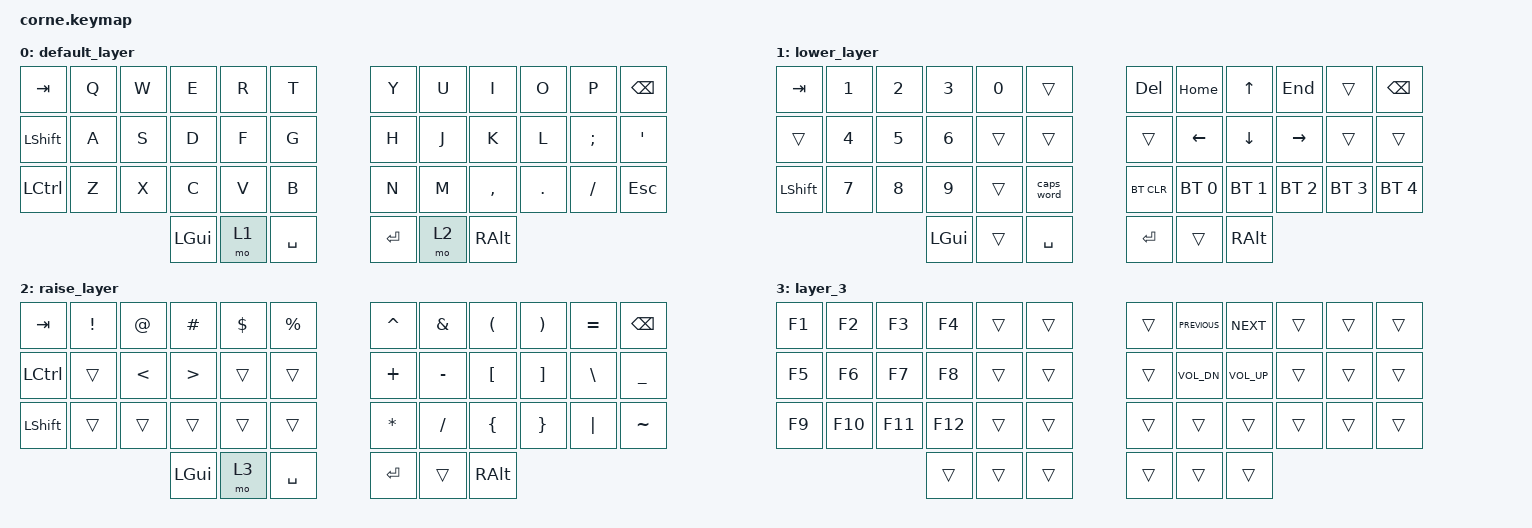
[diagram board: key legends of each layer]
/*
 * Copyright (c) 2020 The ZMK Contributors
 *
 * SPDX-License-Identifier: MIT
 */

#include <behaviors.dtsi>
#include <dt-bindings/zmk/bt.h>
#include <dt-bindings/zmk/keys.h>

/ {
    keymap {
        compatible = "zmk,keymap";

        default_layer {
            // -----------------------------------------------------------------------------------------
            // |  TAB |  Q  |  W  |  E  |  R  |  T  |   |  Y  |  U   |  I  |  O  |  P  | BSPC |
            // | CTRL |  A  |  S  |  D  |  F  |  G  |   |  H  |  J   |  K  |  L  |  ;  |  '   |
            // | SHFT |  Z  |  X  |  C  |  V  |  B  |   |  N  |  M   |  ,  |  .  |  /  | ESC  |
            //                    | GUI | LWR | SPC |   | ENT | RSE  | ALT |

            bindings = <
&kp TAB    &kp Q  &kp W  &kp E     &kp R  &kp T        &kp Y    &kp U  &kp I      &kp O    &kp P     &kp BSPC
&kp LSHFT  &kp A  &kp S  &kp D     &kp F  &kp G        &kp H    &kp J  &kp K      &kp L    &kp SEMI  &kp SQT
&kp LCTRL  &kp Z  &kp X  &kp C     &kp V  &kp B        &kp N    &kp M  &kp COMMA  &kp DOT  &kp FSLH  &kp ESC
                         &kp LGUI  &mo 1  &kp SPACE    &kp RET  &mo 2  &kp RALT
            >;
        };

        lower_layer {
            // -----------------------------------------------------------------------------------------
            // |  TAB |  1  |  2  |  3  |  4  |  5  |   |  6  |  7  |  8  |  9  |  0  | BSPC |
            // | BTCLR| BT1 | BT2 | BT3 | BT4 | BT5 |   | LFT | DWN |  UP | RGT |     |      |
            // | SHFT |     |     |     |     |     |   |     |     |     |     |     |      |
            //                    | GUI |     | SPC |   | ENT |     | ALT |

            bindings = <
&kp TAB    &kp N1  &kp N2  &kp N3    &kp N0  &trans        &kp DEL     &kp HOME      &kp UP        &kp END       &trans        &kp BSPC
&trans     &kp N4  &kp N5  &kp N6    &trans  &trans        &trans      &kp LEFT      &kp DOWN      &kp RIGHT     &trans        &trans
&kp LSHFT  &kp N7  &kp N8  &kp N9    &trans  &caps_word    &bt BT_CLR  &bt BT_SEL 0  &bt BT_SEL 1  &bt BT_SEL 2  &bt BT_SEL 3  &bt BT_SEL 4
                           &kp LGUI  &trans  &kp SPACE     &kp RET     &trans        &kp RALT
            >;
        };

        raise_layer {
            // -----------------------------------------------------------------------------------------
            // |  TAB |  !  |  @  |  #  |  $  |  %  |   |  ^  |  &  |  *  |  (  |  )  | BSPC |
            // | CTRL |     |     |     |     |     |   |  -  |  =  |  [  |  ]  |  \  |  `   |
            // | SHFT |     |     |     |     |     |   |  _  |  +  |  {  |  }  | "|" |  ~   |
            //                    | GUI |     | SPC |   | ENT |     | ALT |

            bindings = <
&kp TAB    &kp EXCL  &kp AT  &kp HASH          &kp DLLR  &kp PRCNT    &kp CARET     &kp AMPS   &kp LEFT_PARENTHESIS  &kp RIGHT_PARENTHESIS  &kp EQUAL  &kp BSPC
&kp LCTRL  &trans    &kp LT  &kp GREATER_THAN  &trans    &trans       &kp PLUS      &kp MINUS  &kp LBKT              &kp RBKT               &kp BSLH   &kp UNDERSCORE
&kp LSHFT  &trans    &trans  &trans            &trans    &trans       &kp ASTERISK  &kp SLASH  &kp LBRC              &kp RBRC               &kp PIPE   &kp TILDE
                             &kp LGUI          &mo 3     &kp SPACE    &kp RET       &trans     &kp RALT
            >;
        };

        layer_3 {
            bindings = <
&kp F1  &kp F2   &kp F3   &kp F4   &trans  &trans    &trans  &kp C_PREVIOUS  &kp C_NEXT       &trans  &trans  &trans
&kp F5  &kp F6   &kp F7   &kp F8   &trans  &trans    &trans  &kp C_VOL_DN    &kp C_VOLUME_UP  &trans  &trans  &trans
&kp F9  &kp F10  &kp F11  &kp F12  &trans  &trans    &trans  &trans          &trans           &trans  &trans  &trans
                          &trans   &trans  &trans    &trans  &trans          &trans
            >;
        };
    };
};
